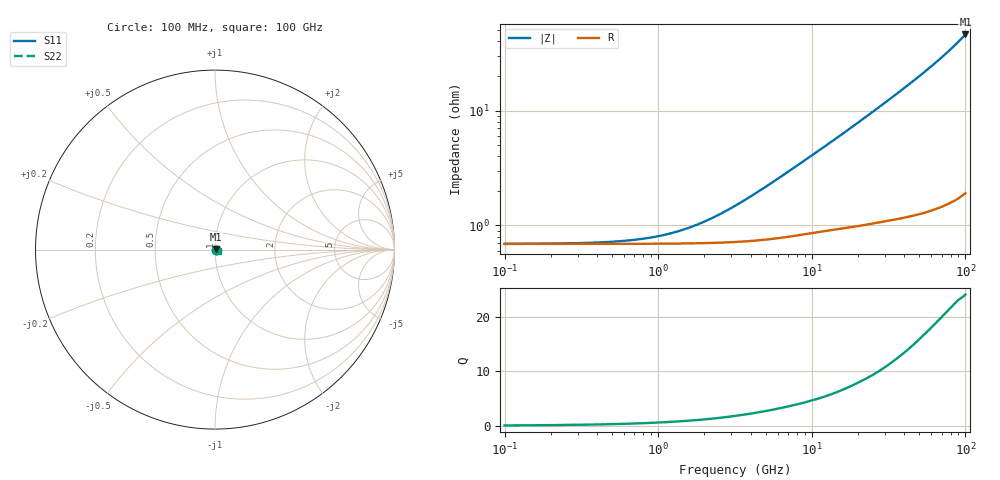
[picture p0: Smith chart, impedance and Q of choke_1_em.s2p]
#  Hz  S  RI  R  50
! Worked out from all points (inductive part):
!   1000 points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, 100 MHz to 100 GHz, reference 50 ohm
!   read as 1/Y11, port 2 shorted: L = 63.6 pH near 5.7 GHz
!   highest Q = 24.1 at 100 GHz (marker M1), where L = 73.1 pH
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1e8  0.00686 3.71e-05  0.9932 -0.000775  0.9932 -0.000775  0.00686 3.66e-05
1.4e9  0.00691 0.000514  0.993 -0.0108  0.993 -0.0108  0.00691 0.000506
2.8e9  0.00707 0.000992  0.9927 -0.0216  0.9927 -0.0216  0.00708 0.000977
4.1e9  0.00729 0.00138  0.9922 -0.0316  0.9922 -0.0316  0.00731 0.00136
7.7e9  0.00806 0.00209  0.9902 -0.0586  0.9902 -0.0586  0.00816 0.00204
9.1e9  0.00835 0.00223  0.9893 -0.069  0.9892 -0.069  0.0085 0.00218
1.04e10  0.0086 0.00231  0.9883 -0.0786  0.9883 -0.0786  0.00879 0.00225
1.18e10  0.00883 0.00237  0.9872 -0.0888  0.9872 -0.0888  0.00908 0.00229
1.33e10  0.00904 0.0024  0.986 -0.0998  0.986 -0.0998  0.00936 0.0023
1.68e10  0.00942 0.00246  0.9827 -0.1254  0.9827 -0.1254  0.00992 0.0023
2.09e10  0.00975 0.0025  0.978 -0.1552  0.978 -0.1552  0.0105 0.00226
2.51e10  0.01 0.00251  0.9723 -0.1856  0.9723 -0.1855  0.0111 0.00216
2.9e10  0.0102 0.00249  0.9663 -0.2135  0.9663 -0.2135  0.0116 0.00201
3.34e10  0.0103 0.00245  0.9585 -0.2449  0.9585 -0.2449  0.0121 0.00178
4.22e10  0.0104 0.00239  0.9401 -0.3067  0.9401 -0.3067  0.0131 0.00121
5.01e10  0.0103 0.00234  0.9202 -0.361  0.9202 -0.361  0.014 0.000519
5.89e10  0.00995 0.00234  0.8944 -0.42  0.8944 -0.42  0.015 -0.000432
6.67e10  0.00954 0.00238  0.8684 -0.4708  0.8684 -0.4708  0.0158 -0.00145
7.58e10  0.00893 0.00252  0.8344 -0.5281  0.8344 -0.5281  0.0165 -0.00283
8.34e10  0.00832 0.00272  0.8032 -0.574  0.8032 -0.574  0.0171 -0.00414
9.25e10  0.00749 0.00311  0.7625 -0.6266  0.7625 -0.6266  0.0175 -0.00586
1e11  0.00675 0.00351  0.7265 -0.6676  0.7265 -0.6677  0.0178 -0.00739
